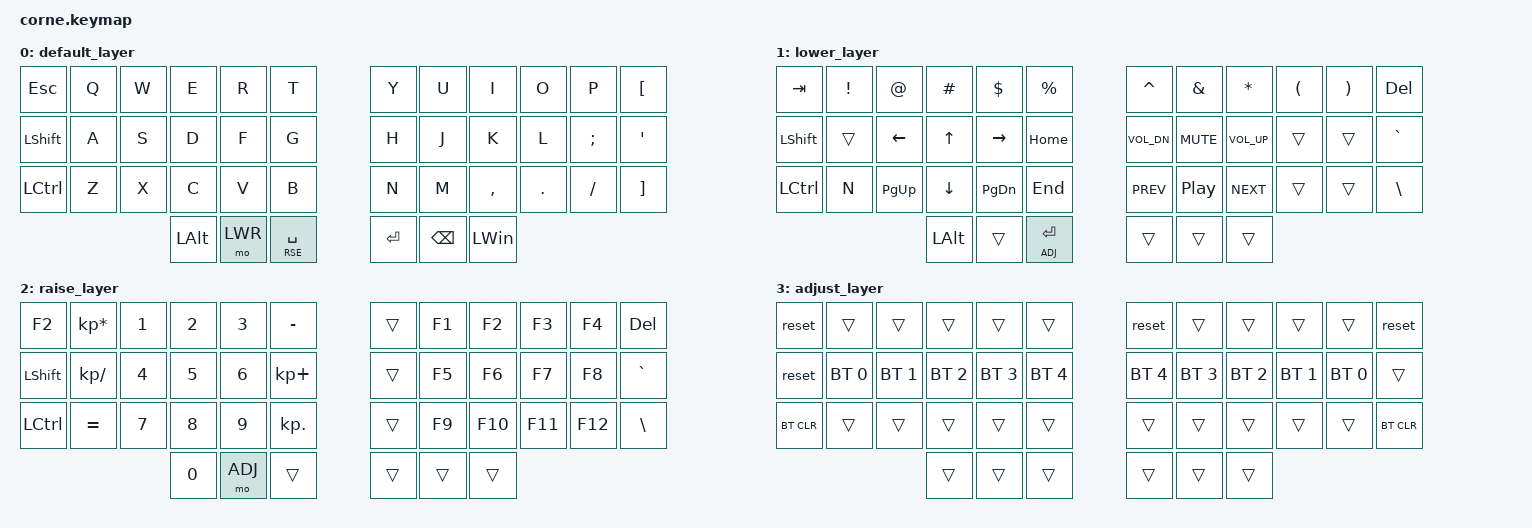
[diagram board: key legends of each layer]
/*
 * Copyright (c) 2020 The ZMK Contributors
 *
 * SPDX-License-Identifier: MIT
 */

#include <behaviors.dtsi>
#include <dt-bindings/zmk/keys.h>
#include <dt-bindings/zmk/bt.h>
#include <dt-bindings/zmk/rgb.h>

#define DEF 0
#define LWR 1
#define RSE 2
#define ADJ 3

&lt { quick_tap_ms = <200>; };
&mt { quick_tap_ms = <200>; };

/ {
    combos {
        compatible = "zmk,combos";
        combo_F2 {
            timeout-ms = <50>;
            key-positions = <0 1>;
            bindings = <&kp F2>;
        };
        combo_ENTER {
            timeout-ms = <50>;
            key-positions = <3 4>;
            bindings = <&kp ENTER>;
        };
         combo_BS {
            timeout-ms = <50>;
            key-positions = <4 5>;
            bindings = <&kp BSPC>;
        };
        combo_Del {
            timeout-ms = <50>;
            key-positions = <28 29>;
            bindings = <&kp DEL>;
        };
    };
};


/ {
        keymap {
                compatible = "zmk,keymap";

                default_layer {
// .-------------------------------------------------------.       .-----------------------------------------------------------.
// |  ESC  |    Q    |    W   |   E    |    R    |    T    |       |   Y   |    U    |    I    |    O    |     P    |     [    |
// |-------+---------+--------+--------+---------+---------|       |-------+---------+---------+---------+----------+----------|
// |  SHFT |    A    |    S   |   D    |    F    |    G    |       |   H   |    J    |    K    |    L    |     ;    |     '    |
// |-------+---------+--------+--------+---------+---------|       |-------+---------+---------+---------+----------+----------|
// |  CTRL |    Z    |    X   |   C    |    V    |    B    |       |   N   |    M    |    ,    |    .    |     /    |     ]    |
// '--------------------------+--------+---------+---------+       |-------+---------+---------+-------------------------------'
//                            |  ALT   |   LWR   | RSE/SPC |       |  RET  |   BKSP  |   GUI   |
//                            '--------+---------+---------'       '-------+---------+---------'
                        bindings = <
     &kp ESC    &kp Q    &kp W    &kp E    &kp R    &kp T          &kp Y    &kp U    &kp I      &kp O    &kp P     &kp LBKT
     &kp LSHFT  &kp A    &kp S    &kp D    &kp F    &kp G          &kp H    &kp J    &kp K      &kp L    &kp SEMI  &kp SQT
     &kp LCTRL  &kp Z    &kp X    &kp C    &kp V    &kp B          &kp N    &kp M    &kp COMMA  &kp DOT  &kp FSLH  &kp RBKT
                            &kp LALT    &mo LWR      &lt RSE SPACE               &kp ENTER  &kp BSPC     &kp LWIN
                        >;
                };
  
  
                lower_layer {
// .-----------------------------------------------------------.       .-----------------------------------------------------.
// |    TAB    |   !   |   @    |   #    |    $     |    %     |       |    ^   |    &   |    *    |    (   |    )   |  DEL  |
// |-----------+-------+--------+--------+----------+----------|       |--------+--------+---------+--------+--------+-------|
// |    SHFT   |       |   PU   |   UP   |    PD    |   HOME   |       | vol up |  mute  |  vol dn |        |        |   ~   |
// |-----------+-------+--------+--------+----------+----------|       |--------+--------+---------+--------+--------+-------|
// |    CTRL   |   N   |  LEFT  |  DOWN  |   RIGHT  |   END    |       |  prev  |  play  |   next  |        |        |   \   |
// '----------------------------+--------+----------+----------+       |--------+--------+---------+-------------------------'
//                              |  ALT   |          |ADJ_ENTER |       |        |        |         |
//                              '--------+----------+----------'       '--------+--------+---------'

                        bindings = <
   &kp TAB     &kp EXCL  &kp AT    &kp HASH  &kp DLLR   &kp PRCNT        &kp CARET     &kp AMPS   &kp STAR     &kp LPAR   &kp RPAR  &kp DEL
   &kp LSHFT   &trans    &kp LEFT   &kp UP    &kp RIGHT  &kp HOME        &kp C_VOL_DN  &kp C_MUTE &kp C_VOL_UP &trans     &trans    &kp GRAVE
   &kp LCTRL   &kp N     &kp PG_UP  &kp DOWN  &kp PG_DN  &kp END         &kp C_PREV    &kp C_PP   &kp C_NEXT   &trans     &trans    &kp BSLH
                         &kp LALT   &trans    &lt ADJ ENTER              &trans   &trans   &trans
                        >;
                };
  
  
                  raise_layer {
// .------------------------------------------------------.       .-----------------------------------------------------.
// |   F2    |    *   |    1   |    2   |    3   |        |       |        |   F1   |   F2   |   F3   |   F4   |   DEL  |
// |---------+--------+--------+--------+--------+--------|       |--------+--------+--------+--------+--------+--------|
// |   SHFT  |        |    4   |    5   |    6   |        |       |        |   F5   |   F6   |   F7   |   F8   |    ~   |
// |---------+--------+--------+--------+--------+--------|       |--------+--------+--------+--------+--------+--------|
// |   CTRL  |        |    7   |    8   |    9   |        |       |        |   F9   |   F10  |   F11  |   F12  |    \   |
// '---------------------------+--------+--------+--------+       |-------+---------+--------+--------------------------'
//                             |    0   |   ADJ  |        |       |        |        |        |
//                             '--------+--------+--------'       '--------+--------+--------'
                        bindings = <
   &kp F2     &kp KP_ASTERISK &kp N1 &kp N2 &kp N3 &kp MINUS           &trans &kp F1  &kp F2  &kp F3  &kp F4  &kp DEL
   &kp LSHFT  &kp KP_SLASH    &kp N4 &kp N5 &kp N6 &kp KP_PLUS         &trans &kp F5  &kp F6  &kp F7  &kp F8  &kp GRAVE
   &kp LCTRL  &kp EQUAL       &kp N7 &kp N8 &kp N9 &kp KP_DOT          &trans &kp F9  &kp F10 &kp F11 &kp F12 &kp BSLH
                              &kp N0        &mo ADJ   &trans           &trans &trans  &trans
                        >;
                };


                adjust_layer {
// .--------------------------------------------------------.       .------------------------------------------------------.
// |  reset  |        |        |        |         |         |       |        |        |        |        |        |  reset  |
// |---------+--------+--------+--------+---------+---------|       |--------+--------+--------+--------+--------+---------|
// |         |  BT1   |  BT2   |  BT3   |  BT4    |  BT5    |       |  BT5   |  BT4   |  BT3   |  BT2   |  BT1   |         |
// |---------+--------+--------+--------+---------+---------|       |--------+--------+--------+--------+--------+---------|
// |  BTCLR  |        |        |        |         |         |       |        |        |        |        |        |  BTCLR  |
// '---------------------------+--------+---------+---------+       |--------+--------+--------+---------------------------'
//                             |        |         |         |       |        |        |        |
//                             '--------+---------+---------'       '--------+--------+--------'

                        bindings = <
   &reset      &trans        &trans        &trans        &trans          &trans            &reset        &trans        &trans        &trans        &trans        &reset
   &reset      &bt BT_SEL 0  &bt BT_SEL 1  &bt BT_SEL 2  &bt BT_SEL 3    &bt BT_SEL 4      &bt BT_SEL 4  &bt BT_SEL 3  &bt BT_SEL 2  &bt BT_SEL 1  &bt BT_SEL 0  &trans
   &bt BT_CLR  &trans        &trans        &trans        &trans          &trans            &trans        &trans        &trans        &trans        &trans        &bt BT_CLR
                             &trans        &trans        &trans                            &trans        &trans        &trans
                        >;
                };
         };
};
